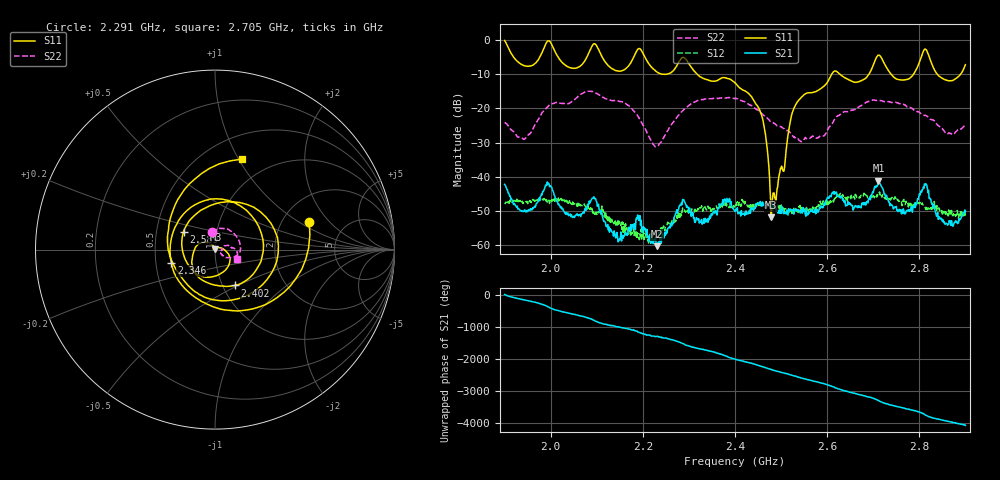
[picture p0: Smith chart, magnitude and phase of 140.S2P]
! C:\Users\rflab\Downloads\Lab5_KD_ZW\140.S2P
! Touchstone 1.1 file saved by VNA.EXE V1.65 (www.ke5fx.com/gpib/readme.htm)
! 11/12/2024 12:12:58 AM
!  Source: HEWLETT PACKARD,8753D,0,6.14
!  Min freq: 1.900000E+009 Hz
!  Max freq: 2.900000E+009 Hz
!  Points: 801
!  Params: S11 S21 S12 S22
# GHZ S RI R 50
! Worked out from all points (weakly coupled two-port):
!   801 points, 1.9 GHz to 2.9 GHz, reference 50 ohm
!   highest |S21| = -41.14 dB at 2.711 GHz (marker M1); lowest = -60.3 dB at 2.23 GHz (marker M2)
!   lowest |S11| = -51.9 dB at 2.479 GHz (marker M3), VSWR 1.01, Z = 50.2 + j0.129 ohm
!   |S11| at or under -10 dB: 2.318 GHz to 2.61 GHz (291.4 MHz wide, 11.8 % of centre); 2.628 GHz to 2.69 GHz (62.63 MHz wide, 2.36 % of centre); 2.839 GHz to 2.889 GHz (50.2 MHz wide, 1.75 % of centre) (the widest 3 of 6)
!   |S22| runs from -31.2 to -14.9 dB; largest |S21 - S12| = 0.0046
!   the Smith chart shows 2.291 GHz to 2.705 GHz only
!   S11 on the Smith chart (normalised r, x): 2.291 GHz: 2.80, +1.24; 2.346 GHz: 0.60, -0.10; 2.402 GHz: 1.14, -0.48; 2.589 GHz: 0.69, +0.14; 2.705 GHz: 0.74, +1.03
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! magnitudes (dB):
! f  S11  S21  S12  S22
! 1.9 GHz  -0.1  -42.2  -47.7  -24.1
! 1.944 GHz  -7.5  -49.7  -47.5  -28.9
! 1.994 GHz  -0.2  -42.1  -47.6  -19.4
! 2.067 GHz  -7.2  -50.9  -48.4  -15.7
! 2.095 GHz  -1.0  -46.5  -50.8  -15.2
! 2.145 GHz  -9.0  -57.7  -53.3  -17.8
! 2.192 GHz  -2.4  -52.1  -58.4  -23.0
! 2.23 GHz  -9.3  -60.3  -57.9  -31.1
! 2.234 GHz  -9.6  -59.2  -57.3  -30.8
! 2.291 GHz  -5.2  -47.4  -50.0  -20.1
! 2.346 GHz  -11.9  -52.2  -49.1  -17.2
! 2.4 GHz  -12.5  -50.2  -48.0  -17.1
! 2.402 GHz  -12.8  -49.5  -48.4  -17.1
! 2.456 GHz  -21.5  -48.5  -47.1  -21.2
! 2.479 GHz  -51.9  -48.3  -49.3  -24.0
! 2.529 GHz  -19.7  -49.6  -49.6  -28.3
! 2.567 GHz  -15.4  -49.5  -49.4  -28.2
! 2.589 GHz  -13.9  -48.7  -47.9  -28.0
! 2.705 GHz  -5.6  -43.2  -45.7  -17.6
! 2.711 GHz  -4.4  -41.1  -44.8  -17.7
! 2.734 GHz  -9.1  -47.4  -46.6  -18.0
! 2.9 GHz  -7.2  -50.5  -49.9  -24.9
